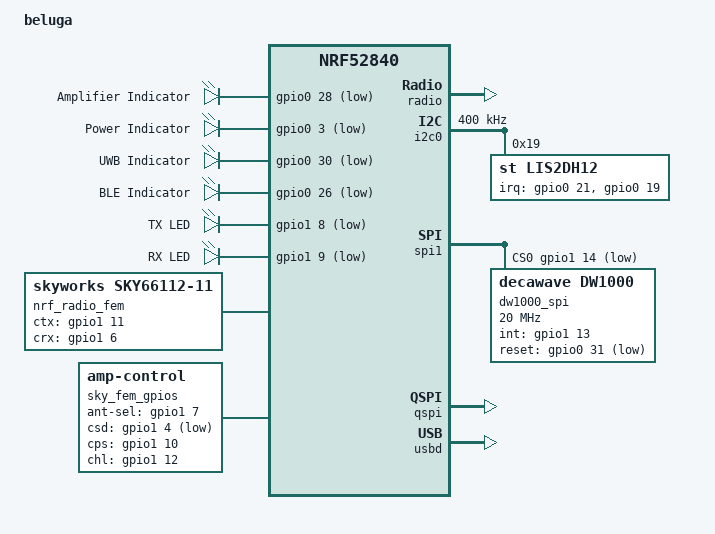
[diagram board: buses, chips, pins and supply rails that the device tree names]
/dts-v1/;
#include <nordic/nrf52840_qiaa.dtsi>
#include "beluga-pinctrl.dtsi"

/ {
	model = "beluga";
	compatible = "WiseLab,beluga";

	chosen {
		zephyr,console = &cdc_acm_uart0;
		zephyr,shell-uart = &cdc_acm_uart0;
		zephyr,uart-mcumgr = &cdc_acm_uart0;
		zephyr,bt-mon-uart = &cdc_acm_uart0;
		zephyr,bt-c2h-uart = &cdc_acm_uart0;
		zephyr,sram = &sram0;
		zephyr,flash = &flash0;
		zephyr,code-partition = &slot0_partition;
	};

	leds {
		compatible = "gpio-leds";
		led0: led_0 {
			gpios = <&gpio0 28 GPIO_ACTIVE_LOW>;
			label = "Amplifier Indicator";
		};
		led1: led_1 {
			gpios = <&gpio0 3 GPIO_ACTIVE_LOW>;
			label = "Power Indicator";
		};
		led2: led_2 {
			gpios = <&gpio0 30 GPIO_ACTIVE_LOW>;
			label = "UWB Indicator";
		};
		led3: led_3 {
			gpios = <&gpio0 26 GPIO_ACTIVE_LOW>;
			label = "BLE Indicator";
		};
	};

	serial_leds {
		compatible = "gpio-leds";
		tx_led: tx_led0 {
			gpios = <&gpio1 8 GPIO_ACTIVE_LOW>;
			label = "TX LED";
		};
		rx_led: rx_led0 {
			gpios = <&gpio1 9 GPIO_ACTIVE_LOW>;
			label = "RX LED";
		};
	};

	aliases {
		led0 = &led0;
		led1 = &led1;
		led2 = &led2;
		led3 = &led3;
		bootloader-led0 = &led0;
		watchdog = &wdt0;
		spi-flash0 = &mx25r64;
	};

	nrf_radio_fem: sky66112-11 {
		compatible = "skyworks,sky66112-11", "generic-fem-two-ctrl-pins";
		ctx-gpios = <&gpio1 11 0>;
		crx-gpios = <&gpio1 6 0>;
		tx-gain-db = <22>;
	};

	sky_fem_gpios: amp_control {
		compatible = "amp-control";
		ant-sel-gpios = <&gpio1 7 0>;
		csd-gpios = <&gpio1 4 GPIO_ACTIVE_LOW>;
		cps-gpios = <&gpio1 10 GPIO_ACTIVE_HIGH>;
		chl-gpios = <&gpio1 12 0>;
	};
};

&radio {
	fem = <&nrf_radio_fem>;
};

&uicr {
	gpio-as-nreset;
};

&gpiote {
	status = "okay";
};

&gpio0 {
	status = "okay";
	gpio-reserved-ranges = <0 2>, <4 7>, <18 1>, <27 1>;
	gpio-line-names = "XL1", "XL2", "SPI1 MISO", "PWR Indicator", "QSPI CS",
					  "QSPI DIO3", "QSPI DIO1", "QSPI DIO0", "QSPI DIO2", "",
					  "", "P0.11", "P0.12", "P0.13", "ACCEL SDO", "P0.15",
					  "ACCEL SDA/SDI", "P0.17", "RESET", "ACCEL INT2", "P0.20",
					  "ACCEL INT1", "P0.22", "ACCEL CLK", "P0.24", "P0.25",
					  "BLE Indicator", "QSPI CLK", "Amplifier Indicator", "SPI1 MOSI",
					  "UWB Indicator", "DW RESET";
};

&gpio1 {
	status = "okay";
	gpio-line-names = "VDD ADJ", "P1.01", "ACCEL CS", "P1.03", "CSD", "P1.05", "CRX",
					  "ANT SEL", "TXLED", "RXLED", "CPS", "CTX", "CHL", "DW IRQ", "DW CS",
					  "SPI1 CLK";
};

&i2c0 {
	compatible = "nordic,nrf-twi";
	status = "okay";
	pinctrl-0 = <&i2c0_default>;
	pinctrl-1 = <&i2c0_sleep>;
	pinctrl-names = "default", "sleep";

	clock-frequency = <I2C_BITRATE_FAST>;
	lis2dh12: lis2dh12@19 {
		compatible = "st,lis2dh12", "st,lis2dh";
		reg = <0x19>;
		irq-gpios = <&gpio0 21 GPIO_ACTIVE_HIGH>,
					<&gpio0 19 GPIO_ACTIVE_HIGH>;
	};
};

&spi1 {
	compatible = "nordic,nrf-spi";
	status = "okay";
	cs-gpios = <&gpio1 14 (GPIO_PULL_UP | GPIO_ACTIVE_LOW)>;
	pinctrl-0 = <&spi1_default>;
	pinctrl-1 = <&spi1_sleep>;
	pinctrl-names = "default", "sleep";
	dw1000_spi: dw1000@0 {
		compatible = "decawave,dw1000";
		spi-max-frequency = <DT_FREQ_M(20)>;
		int-gpios = <&gpio1 13 GPIO_ACTIVE_HIGH>;
		reset-gpios = <&gpio0 31 GPIO_ACTIVE_LOW>;
		status = "okay";
		reg = <0x0>;
	};
};

&qspi {
	status = "okay";
	pinctrl-0 = <&qspi_default>;
	pinctrl-1 = <&qspi_sleep>;
	pinctrl-names = "default", "sleep";
	mx25r64: mx25r6435f@0 {
		status = "disabled";
		compatible = "nordic,qspi-nor";
		reg = <0>;
		/* MX25R64 supports only pp and pp4io */
		writeoc = "pp4io";
		/* MX25R64 supports all readoc options */
		readoc = "read4io";
		sck-frequency = <8000000>;
		jedec-id = [c2 28 17];
		sfdp-bfp = [
						   e5 20 f1 ff  ff ff ff 03  44 eb 08 6b  08 3b 04 bb
						   ee ff ff ff  ff ff 00 ff  ff ff 00 ff  0c 20 0f 52
						   10 d8 00 ff  23 72 f5 00  82 ed 04 cc  44 83 68 44
						   30 b0 30 b0  f7 c4 d5 5c  00 be 29 ff  f0 d0 ff ff
				   ];
		size = <67108864>;
		has-dpd;
		t-enter-dpd = <10000>;
		t-exit-dpd = <35000>;
	};
};

&uart0 {
	compatible = "nordic,nrf-uarte";
	status = "disabled";
	current-speed = <115200>;
	pinctrl-0 = <&uart0_default>;
	pinctrl-1 = <&uart0_sleep>;
	pinctrl-names = "default", "sleep";
};

&flash0 {
	partitions {
		compatible = "fixed-partitions";
		#address-cells = <1>;
		#size-cells = <1>;

		boot_partition: partition@0 {
			label = "mcuboot";
			reg = <0x00000000 DT_SIZE_K(48)>;
		};

		slot0_partition: partition@c000 {
			label = "image-0";
			reg = <0x0000c000 DT_SIZE_K(472)>;
		};

		slot1_partition: partition@82000 {
			label = "image-1";
			reg = <0x00082000 DT_SIZE_K(472)>;
		};

		/*
		 * The flash starting at 0x000f8000 and ending at
		 * 0x000fffff is reserved for use by the application.
		 */

		/*
		 * Storage partition will be used by FCB/LittleFS/NVS
		 * if enabled.
		 */
		storage_partition: partition@f8000 {
			label = "storage";
			reg = <0x000f8000 DT_SIZE_K(32)>;
		};
	};
};

zephyr_udc0: &usbd {
	compatible = "nordic,nrf-usbd";
	status = "okay";

	cdc_acm_uart0: cdc_acm_uart0 {
		compatible = "zephyr,cdc-acm-uart";
	};
};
